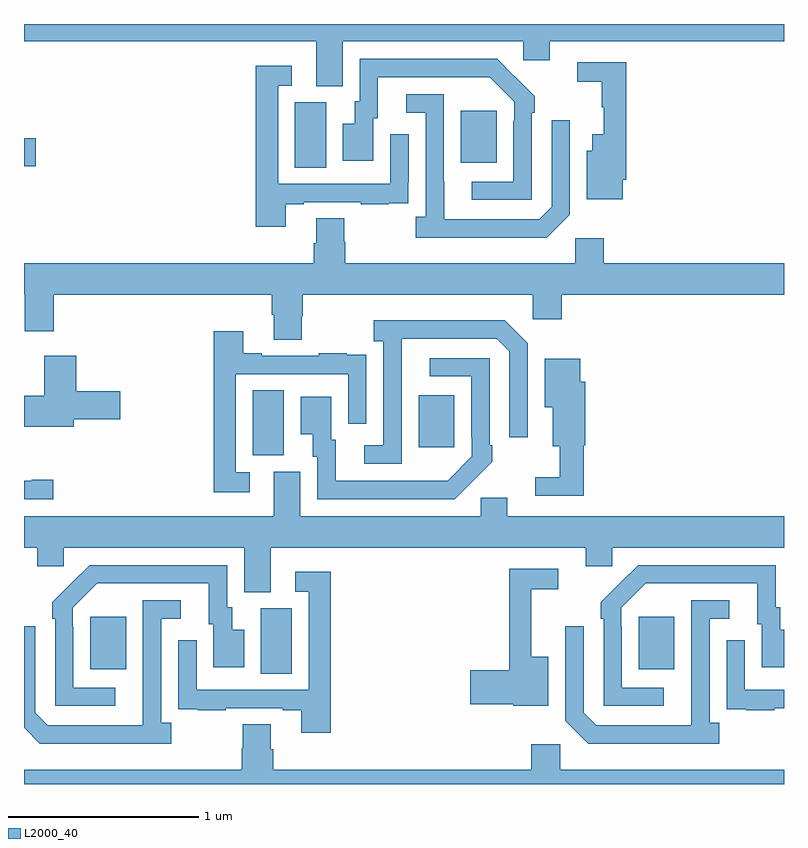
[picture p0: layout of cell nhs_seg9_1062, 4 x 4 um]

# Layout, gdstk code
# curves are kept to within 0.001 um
import gdstk
lib = gdstk.Library(unit=1e-6, precision=1e-09)
def R(c, l, rs):  # rectangles x0, y0, x1, y1
    for r in rs: c.add(gdstk.rectangle(r[:2], r[2:], *l))
def P(c, l, *ps):  # polygons
    for p in ps: c.add(gdstk.Polygon(p, *l))
L2000_40 = (2000, 40)

nhs_seg9_1062 = lib.new_cell('nhs_seg9_1062')
R(nhs_seg9_1062, L2000_40, [(170.246,1205.08,170.41,1205.424), (169.349,1205.105,169.537,1205.38), (172.235,1205.105,172.423,1205.38), (170.204,1206.229,170.368,1206.572), (171.077,1206.273,171.265,1206.547), (170.426,1207.744,170.59,1208.088), (169,1207.751,169.063,1207.898), (171.299,1207.769,171.487,1208.044)])
P(nhs_seg9_1062, L2000_40, [(170.677,1208.408),(171.627,1208.408),(171.627,1208.31),(171.766,1208.31),(171.766,1208.408),(173,1208.408),(173,1208.5),(169,1208.5),(169,1208.408),(170.537,1208.408),(170.537,1208.173),(170.677,1208.173)],
  [(171.672,1208.033),(171.687,1208.033),(171.687,1208.121),(171.49,1208.316),(170.766,1208.316),(170.766,1208.094),(170.741,1208.094),(170.741,1207.975),(170.678,1207.975),(170.678,1207.779),(170.839,1207.779),(170.839,1208.004),(170.863,1208.004),(170.863,1208.22),(171.451,1208.22),(171.579,1208.091),(171.579,1207.991),(171.576,1207.991),(171.576,1207.671),(171.357,1207.671),(171.357,1207.575),(171.672,1207.575)],
  [(172.15,1207.681),(172.169,1207.681),(172.169,1208.298),(171.912,1208.298),(171.912,1208.197),(172.041,1208.197),(172.041,1208.061),(172.052,1208.061),(172.052,1207.921),(171.992,1207.921),(171.992,1207.834),(171.962,1207.834),(171.962,1207.577),(172.15,1207.577)],
  [(170.377,1207.551),(170.473,1207.551),(170.473,1207.563),(170.773,1207.563),(170.773,1207.551),(170.921,1207.551),(170.921,1207.557),(171.023,1207.557),(171.023,1207.666),(171.024,1207.666),(171.024,1207.921),(170.928,1207.921),(170.928,1207.659),(170.337,1207.659),(170.337,1208.175),(170.41,1208.175),(170.41,1208.281),(170.221,1208.281),(170.221,1207.434),(170.377,1207.434)],
  [(171.873,1207.497),(171.873,1207.993),(171.777,1207.993),(171.777,1207.539),(171.711,1207.473),(171.211,1207.473),(171.21,1208.13),(171.012,1208.13),(171.012,1208.034),(171.114,1208.034),(171.114,1207.486),(171.063,1207.486),(171.063,1207.376),(171.752,1207.376)],
  [(170.463,1206.963),(170.468,1206.963),(170.468,1207.076),(171.678,1207.076),(171.678,1206.945),(171.83,1206.945),(171.83,1207.076),(173,1207.076),(173,1207.24),(172.052,1207.24),(172.052,1207.372),(171.9,1207.372),(171.9,1207.24),(170.69,1207.24),(170.69,1207.353),(170.685,1207.353),(170.685,1207.478),(170.537,1207.478),(170.537,1207.346),(170.525,1207.346),(170.525,1207.24),(169,1207.24),(169,1207.076),(169.004,1207.076),(169.004,1206.882),(169.157,1206.882),(169.157,1207.076),(170.303,1207.076),(170.303,1206.97),(170.315,1206.97),(170.315,1206.838),(170.463,1206.838)],
  [(170.988,1206.643),(170.989,1206.843),(171.489,1206.843),(171.555,1206.777),(171.555,1206.324),(171.651,1206.324),(171.651,1206.819),(171.53,1206.94),(170.841,1206.94),(170.841,1206.83),(170.892,1206.83),(170.892,1206.282),(170.79,1206.282),(170.79,1206.186),(170.988,1206.186)],
  [(170.188,1206.141),(170.115,1206.141),(170.115,1206.657),(170.706,1206.657),(170.706,1206.396),(170.802,1206.396),(170.802,1206.65),(170.801,1206.65),(170.801,1206.759),(170.699,1206.759),(170.699,1206.766),(170.551,1206.766),(170.551,1206.753),(170.251,1206.753),(170.251,1206.766),(170.155,1206.766),(170.155,1206.883),(169.999,1206.883),(169.999,1206.036),(170.188,1206.036)],
  [(169.261,1206.419),(169.507,1206.419),(169.507,1206.566),(169.274,1206.566),(169.274,1206.754),(169.106,1206.754),(169.106,1206.543),(169,1206.543),(169,1206.38),(169.261,1206.38)],
  [(171.359,1206.091),(171.36,1206.09),(171.465,1206.195),(171.465,1206.283),(171.45,1206.283),(171.45,1206.741),(171.135,1206.741),(171.135,1206.645),(171.354,1206.645),(171.354,1206.325),(171.357,1206.325),(171.357,1206.225),(171.229,1206.097),(170.641,1206.096),(170.641,1206.312),(170.617,1206.312),(170.617,1206.538),(170.456,1206.538),(170.456,1206.341),(170.519,1206.341),(170.519,1206.222),(170.544,1206.222),(170.544,1206),(171.268,1206)],
  [(171.947,1206.282),(171.953,1206.282),(171.953,1206.618),(171.928,1206.618),(171.928,1206.739),(171.74,1206.739),(171.74,1206.482),(171.782,1206.482),(171.782,1206.278),(171.819,1206.278),(171.819,1206.115),(171.69,1206.115),(171.69,1206.018),(171.947,1206.018)],
  [(169,1205.744),(169.07,1205.744),(169.07,1205.646),(169.209,1205.646),(169.209,1205.744),(170.159,1205.744),(170.159,1205.509),(170.299,1205.509),(170.299,1205.744),(171.956,1205.744),(171.956,1205.646),(172.095,1205.646),(172.095,1205.744),(173,1205.744),(173,1205.908),(171.544,1205.908),(171.544,1206.006),(171.405,1206.006),(171.405,1205.908),(170.455,1205.908),(170.455,1206.144),(170.315,1206.144),(170.315,1205.908),(169,1205.908)],
  [(169.153,1206.101),(169.04,1206.101),(169.04,1206.096),(169,1206.096),(169,1206),(169.153,1206)],
  [(169.48,1205.007),(169.26,1205.007),(169.26,1205.327),(169.257,1205.327),(169.257,1205.427),(169.386,1205.556),(169.973,1205.556),(169.973,1205.34),(169.997,1205.34),(169.997,1205.115),(170.158,1205.115),(170.158,1205.311),(170.095,1205.311),(170.095,1205.43),(170.07,1205.43),(170.07,1205.652),(169.346,1205.652),(169.149,1205.457),(169.149,1205.369),(169.164,1205.369),(169.164,1204.911),(169.48,1204.911)],
  [(172.366,1205.007),(172.146,1205.007),(172.146,1205.327),(172.143,1205.327),(172.143,1205.427),(172.272,1205.556),(172.859,1205.556),(172.859,1205.34),(172.883,1205.34),(172.883,1205.115),(173,1205.115),(173,1205.311),(172.981,1205.311),(172.981,1205.43),(172.956,1205.43),(172.956,1205.652),(172.232,1205.652),(172.035,1205.457),(172.035,1205.369),(172.05,1205.369),(172.05,1204.911),(172.366,1204.911)],
  [(171.76,1205.17),(171.671,1205.17),(171.671,1205.526),(171.811,1205.526),(171.811,1205.634),(171.553,1205.634),(171.553,1205.099),(171.348,1205.099),(171.348,1204.921),(171.576,1204.921),(171.576,1204.913),(171.76,1204.913)],
  [(170.615,1205.617),(170.427,1205.617),(170.427,1205.511),(170.499,1205.511),(170.499,1204.995),(169.908,1204.995),(169.908,1205.257),(169.812,1205.257),(169.812,1205.002),(169.813,1205.002),(169.813,1204.893),(169.915,1204.893),(169.915,1204.887),(170.063,1204.887),(170.063,1204.899),(170.363,1204.899),(170.363,1204.887),(170.459,1204.887),(170.459,1204.77),(170.615,1204.77)],
  [(172.66,1204.822),(172.608,1204.822),(172.608,1205.37),(172.711,1205.37),(172.711,1205.466),(172.512,1205.466),(172.511,1204.809),(172.011,1204.809),(171.945,1204.875),(171.945,1205.329),(171.849,1205.329),(171.849,1204.833),(171.97,1204.712),(172.66,1204.712)],
  [(169.774,1204.822),(169.722,1204.822),(169.722,1205.37),(169.825,1205.37),(169.825,1205.466),(169.626,1205.466),(169.625,1204.809),(169.125,1204.809),(169.059,1204.875),(169.059,1205.329),(169,1205.329),(169,1204.796),(169.084,1204.712),(169.774,1204.712)],
  [(172.949,1204.899),(173,1204.899),(173,1204.995),(172.794,1204.995),(172.794,1205.257),(172.698,1205.257),(172.698,1205.002),(172.699,1205.002),(172.699,1204.893),(172.801,1204.893),(172.801,1204.887),(172.949,1204.887)],
  [(173,1204.576),(171.822,1204.576),(171.822,1204.708),(171.671,1204.708),(171.671,1204.576),(170.312,1204.576),(170.312,1204.682),(170.299,1204.682),(170.299,1204.814),(170.152,1204.814),(170.152,1204.689),(170.147,1204.689),(170.147,1204.576),(169,1204.576),(169,1204.5),(173,1204.5)])

lib.write_gds('nhs_seg9_1062.gds')
